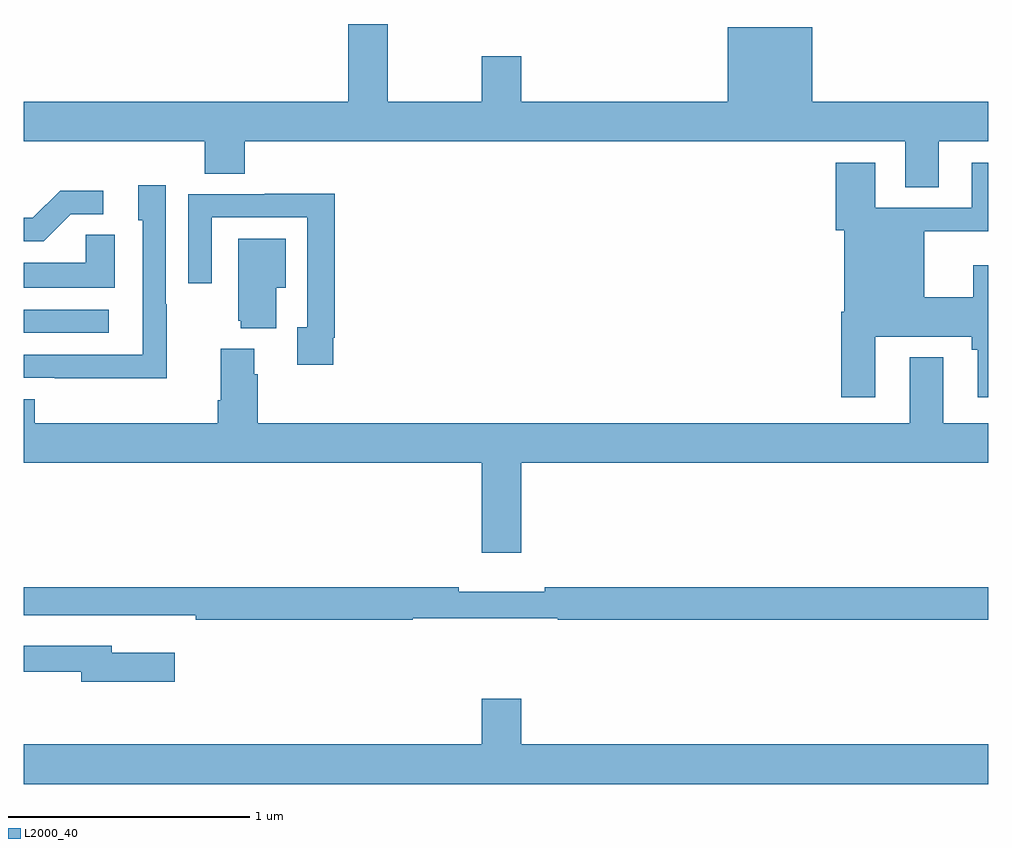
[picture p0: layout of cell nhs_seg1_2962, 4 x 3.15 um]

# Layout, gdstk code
import gdstk
lib = gdstk.Library(unit=1e-6, precision=1e-09)
def R(c, l, rs):  # rectangles x0, y0, x1, y1
    for r in rs: c.add(gdstk.rectangle(r[:2], r[2:], *l))
def P(c, l, *ps):  # polygons
    for p in ps: c.add(gdstk.Polygon(p, *l))
L2000_40 = (2000, 40)

nhs_seg1_2962 = lib.new_cell('nhs_seg1_2962')
R(nhs_seg1_2962, L2000_40, [(271,570.918,271.354,571.014)])
P(nhs_seg1_2962, L2000_40, [(274.795,571.712),(275,571.712),(275,571.876),(274.27,571.876),(274.27,572.185),(273.92,572.185),(273.92,571.876),(273.064,571.876),(273.064,572.065),(272.9,572.065),(272.9,571.876),(272.509,571.876),(272.509,572.199),(272.345,572.199),(272.345,571.876),(271,571.876),(271,571.712),(271.751,571.712),(271.751,571.579),(271.916,571.579),(271.916,571.712),(274.655,571.712),(274.655,571.522),(274.795,571.522)],
  [(274.531,570.902),(274.93,570.902),(274.93,570.849),(274.955,570.849),(274.955,570.651),(275,570.651),(275,571.198),(274.937,571.198),(274.937,571.066),(274.735,571.066),(274.735,571.34),(275,571.34),(275,571.624),(274.931,571.624),(274.931,571.437),(274.531,571.437),(274.531,571.624),(274.367,571.624),(274.367,571.344),(274.403,571.344),(274.403,571.006),(274.391,571.006),(274.391,570.651),(274.531,570.651)],
  [(271.593,571.037),(271.59,571.037),(271.59,571.531),(271.475,571.531),(271.475,571.386),(271.494,571.386),(271.494,570.828),(271,570.828),(271,570.732),(271.129,570.732),(271.129,570.731),(271.593,570.731)],
  [(271.195,571.41),(271.33,571.41),(271.33,571.508),(271.151,571.508),(271.038,571.395),(271,571.395),(271,571.299),(271.084,571.299)],
  [(272.284,570.898),(272.291,570.898),(272.291,571.496),(271.999,571.496),(271.999,571.494),(271.683,571.494),(271.683,571.125),(271.779,571.125),(271.779,571.398),(272.175,571.398),(272.175,570.942),(272.135,570.942),(272.135,570.786),(272.284,570.786)],
  [(271.378,571.325),(271.257,571.325),(271.257,571.21),(271,571.21),(271,571.106),(271.378,571.106)],
  [(272.047,571.106),(272.086,571.106),(272.086,571.309),(271.889,571.309),(271.889,570.969),(271.901,570.969),(271.901,570.938),(272.047,570.938)],
  [(273.064,570.38),(275,570.38),(275,570.544),(274.813,570.544),(274.813,570.817),(274.673,570.817),(274.673,570.544),(271.97,570.544),(271.97,570.746),(271.957,570.746),(271.957,570.853),(271.817,570.853),(271.817,570.64),(271.805,570.64),(271.805,570.544),(271.046,570.544),(271.046,570.643),(271,570.643),(271,570.38),(272.9,570.38),(272.9,570.006),(273.064,570.006)],
  [(272.614,569.736),(273.214,569.736),(273.214,569.728),(275,569.728),(275,569.864),(273.16,569.864),(273.16,569.845),(272.804,569.845),(272.804,569.864),(271,569.864),(271,569.748),(271.462,569.748),(271.462,569.747),(271.714,569.747),(271.714,569.728),(272.614,569.728)],
  [(271.627,569.593),(271.366,569.593),(271.366,569.622),(271,569.622),(271,569.514),(271.238,569.514),(271.238,569.471),(271.627,569.471)],
  [(275,569.212),(273.064,569.212),(273.064,569.401),(272.9,569.401),(272.9,569.212),(271,569.212),(271,569.048),(275,569.048)])

lib.write_gds('nhs_seg1_2962.gds')
